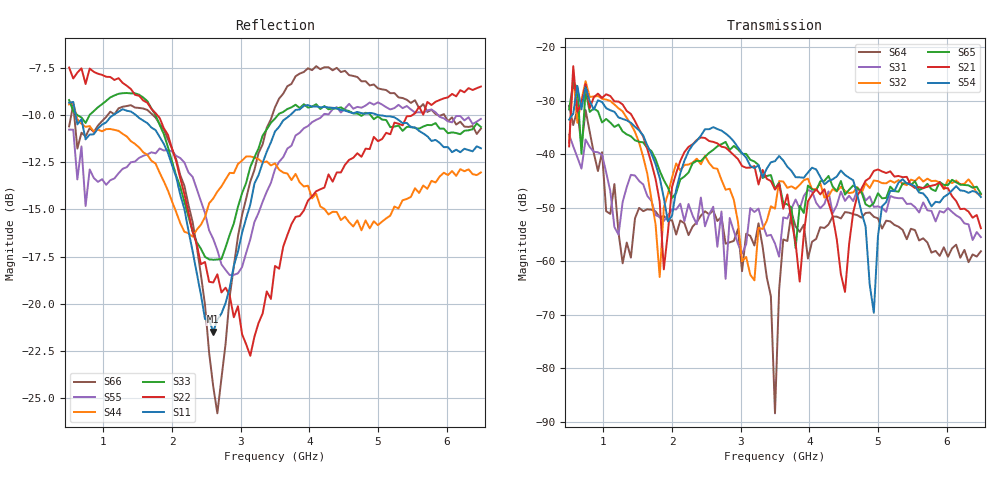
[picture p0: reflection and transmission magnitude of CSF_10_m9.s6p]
!Keysight Technologies,M9804A,MY58100912,A.14.10.03
!Date: Thursday, April 27, 2023 10:28:33
!Correction: S11(C  6-Port  )
!S12(C  6-Port  )
!S13(C  6-Port  )
!S14(C  6-Port  )
!S15(C  6-Port  )
!S16(C  6-Port  )
!S21(C  6-Port  )
!S22(C  6-Port  )
!S23(C  6-Port  )
!S24(C  6-Port  )
!S25(C  6-Port  )
!S26(C  6-Port  )
!S31(C  6-Port  )
!S32(C  6-Port  )
!S33(C  6-Port  )
!S34(C  6-Port  )
!S35(C  6-Port  )
!S36(C  6-Port  )
!S41(C  6-Port  )
!S42(C  6-Port  )
!S43(C  6-Port  )
!S44(C  6-Port  )
!S45(C  6-Port  )
!S46(C  6-Port  )
!S51(C  6-Port  )
!S52(C  6-Port  )
!S53(C  6-Port  )
!S54(C  6-Port  )
!S55(C  6-Port  )
!S56(C  6-Port  )
!S61(C  6-Port  )
!S62(C  6-Port  )
!S63(C  6-Port  )
!S64(C  6-Port  )
!S65(C  6-Port  )
!S66(C  6-Port  )
!S6P File: Measurement: :
# Hz S  RI  R 50
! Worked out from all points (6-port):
!   101 points, 500 MHz to 6.5 GHz, reference 50 ohm
!   strongest paths, dB at 500 MHz, 2 GHz, 3.5 GHz, 5 GHz, 6.5 GHz:
!     S54: -33.5, -51.5, -41.3, -55.3, -48.0
!     S21: -38.5, -46.1, -46.6, -42.8, -53.8
!     S65: -31.6, -48.1, -46.5, -47.3, -47.4
!     S32: -37.8, -44.3, -50.2, -45.0, -47.5
!     S31: -36.3, -50.3, -56.7, -49.7, -55.5
!     S64: -30.9, -52.3, -88.4, -52.0, -58.1
!   lowest |S11| = -21.5 dB at 2.6 GHz (marker M1), VSWR 1.18, Z = 42.5 + j2.35 ohm
!   |S11| at or under -10 dB: 594.3 MHz to 1.149 GHz (555 MHz wide, 63.7 % of centre); 1.467 GHz to 3.727 GHz (2.259 GHz wide, 87 % of centre); 4.986 GHz to end of sweep
